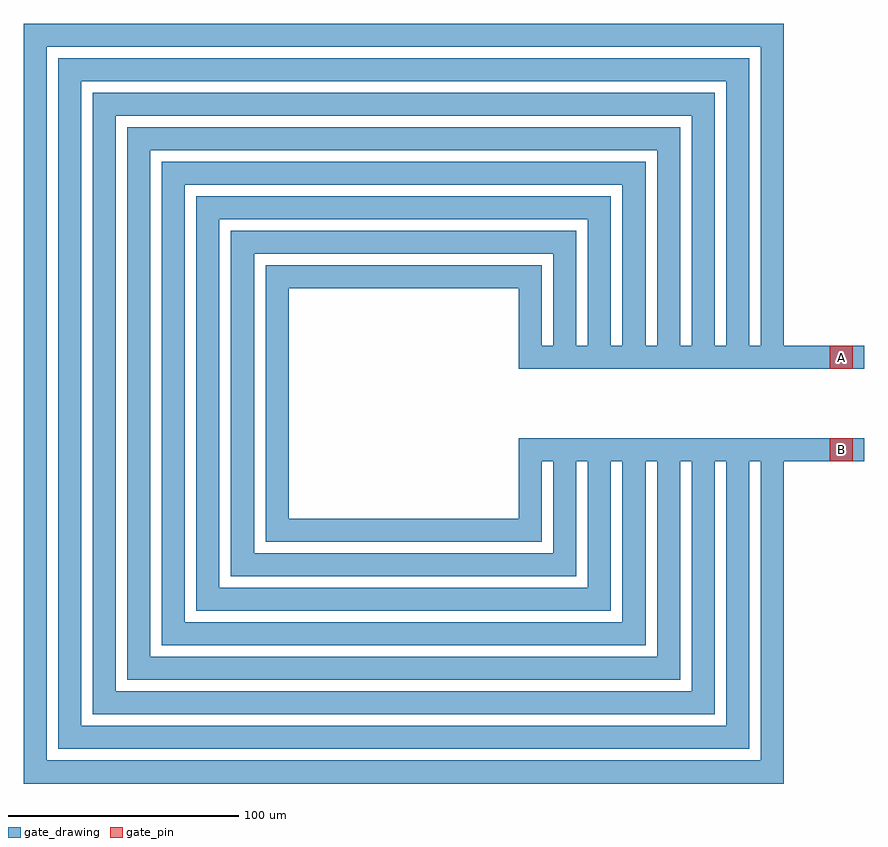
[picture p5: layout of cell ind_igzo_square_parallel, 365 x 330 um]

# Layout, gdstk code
import gdstk
lib = gdstk.Library(unit=1e-6, precision=1e-09)
def R(c, l, rs):  # rectangles x0, y0, x1, y1
    for r in rs: c.add(gdstk.rectangle(r[:2], r[2:], *l))
def P(c, l, *ps):  # polygons
    for p in ps: c.add(gdstk.Polygon(p, *l))
gate_drawing = (2, 0)
gate_pin = (2, 10)

ind_igzo_square_parallel = lib.new_cell('ind_igzo_square_parallel')
R(ind_igzo_square_parallel, gate_drawing, [(50,-25,200,-15), (50,15,200,25)])
P(ind_igzo_square_parallel, gate_drawing, [(-60,-60),(-60,60),(60,60),(60,20),(50,20),(50,50),(-50,50),(-50,-50),(50,-50),(50,-20),(60,-20),(60,-60)],
  [(-75,-75),(-75,75),(75,75),(75,20),(65,20),(65,65),(-65,65),(-65,-65),(65,-65),(65,-20),(75,-20),(75,-75)],
  [(-90,-90),(-90,90),(90,90),(90,20),(80,20),(80,80),(-80,80),(-80,-80),(80,-80),(80,-20),(90,-20),(90,-90)],
  [(-105,-105),(-105,105),(105,105),(105,20),(95,20),(95,95),(-95,95),(-95,-95),(95,-95),(95,-20),(105,-20),(105,-105)],
  [(-120,-120),(-120,120),(120,120),(120,20),(110,20),(110,110),(-110,110),(-110,-110),(110,-110),(110,-20),(120,-20),(120,-120)],
  [(-135,-135),(-135,135),(135,135),(135,20),(125,20),(125,125),(-125,125),(-125,-125),(125,-125),(125,-20),(135,-20),(135,-135)],
  [(-150,-150),(-150,150),(150,150),(150,20),(140,20),(140,140),(-140,140),(-140,-140),(140,-140),(140,-20),(150,-20),(150,-150)],
  [(-165,-165),(-165,165),(165,165),(165,20),(155,20),(155,155),(-155,155),(-155,-155),(155,-155),(155,-20),(165,-20),(165,-165)])
R(ind_igzo_square_parallel, gate_pin, [(185,-25,195,-15), (185,15,195,25)])
ind_igzo_square_parallel.add(gdstk.Label('A', (190,20), layer=2, texttype=10))
ind_igzo_square_parallel.add(gdstk.Label('B', (190,-20), layer=2, texttype=10))
ind_igzo_square_parallel.add(gdstk.Label('ind_igzo 129.6pH / 5.002Ohm @ 100MHz / Q 0.02', (0,-205), layer=63, texttype=0))

lib.write_gds('ind_igzo_square_parallel.gds')
